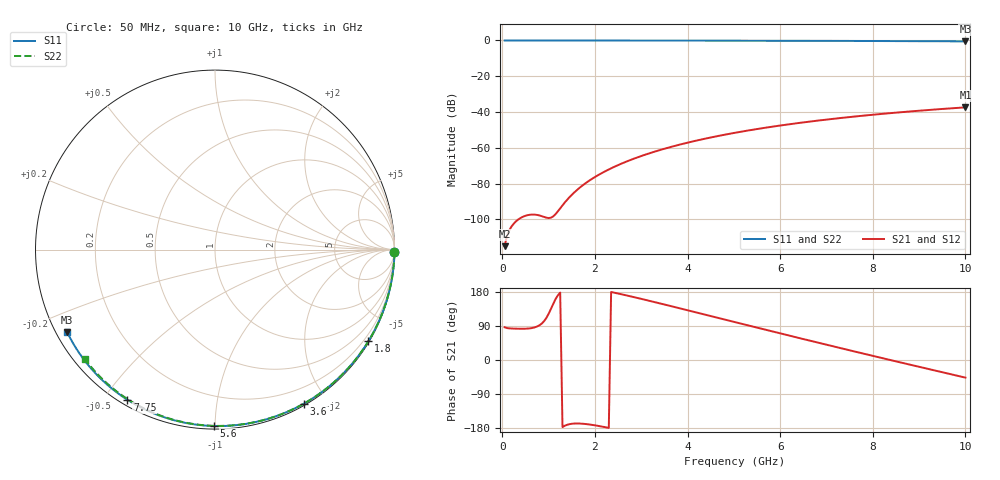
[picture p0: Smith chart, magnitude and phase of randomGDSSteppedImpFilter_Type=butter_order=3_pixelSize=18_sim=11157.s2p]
! freq	dB(S11)	phase(S11)	dB(S12)	phase(S12)
!  dB(S21)	phase(S21)	dB(S22)	phase(S22)
!S-par simulation data
#  GHz  S  DB  R 50
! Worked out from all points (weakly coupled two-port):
!   200 points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, 50 MHz to 10 GHz, reference 50 ohm
!   highest |S21| = -37.39 dB at 10 GHz (marker M1); lowest = -115.0 dB at 50 MHz (marker M2)
!   lowest |S11| = -0.5 dB at 10 GHz (marker M3), VSWR 34.32, Z = 1.56 - j13 ohm
!   |S11| at or under -10 dB: nowhere
!   |S22| runs from -0.5 to 0.0 dB; largest |S21 - S12| = 0
!   S11 on the Smith chart (normalised r, x): 50 MHz: open; 1.8 GHz: 0.03, -3.63; 3.6 GHz: 0.02, -1.73; 5.6 GHz: 0.02, -1.00; 7.75 GHz: 0.02, -0.57; 10 GHz: 0.03, -0.26
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0.05  -0.00 -0.9  -114.97 86.4  -114.97 86.4  -0.00 -0.8
0.45  -0.01 -7.8  -98.47 82.4  -98.47 82.4  -0.01 -7.3
0.9  -0.02 -15.6  -98.61 102.2  -98.61 102.2  -0.02 -14.5
1.3  -0.03 -22.4  -92.14 -177.0  -92.14 -177.0  -0.03 -20.9
1.75  -0.04 -30.0  -80.69 -168.3  -80.69 -168.3  -0.04 -28.0
1.8  -0.04 -30.8  -79.73 -168.9  -79.73 -168.9  -0.04 -28.8
1.95  -0.04 -33.3  -77.12 -171.4  -77.12 -171.4  -0.04 -31.1
2.1  -0.05 -35.8  -74.82 -174.5  -74.82 -174.5  -0.04 -33.4
2.3  -0.05 -39.1  -72.08 -179.2  -72.08 -179.2  -0.05 -36.5
2.5  -0.05 -42.4  -69.66 175.5  -69.66 175.5  -0.05 -39.6
2.9  -0.06 -48.9  -65.52 164.3  -65.52 164.3  -0.06 -45.7
3.4  -0.08 -56.9  -61.27 149.5  -61.27 149.5  -0.07 -53.2
3.6  -0.08 -60.1  -59.79 143.5  -59.79 143.5  -0.08 -56.2
4.3  -0.10 -70.9  -55.33 122.1  -55.33 122.1  -0.09 -66.3
5.05  -0.13 -82.2  -51.48 99.2  -51.48 99.2  -0.12 -76.9
5.6  -0.15 -90.3  -49.10 82.4  -49.10 82.4  -0.14 -84.4
6.15  -0.17 -98.1  -47.00 65.8  -47.00 65.8  -0.16 -91.8
6.7  -0.21 -105.9  -45.15 49.3  -45.15 49.3  -0.19 -99.0
7.75  -0.28 -120.3  -42.14 18.2  -42.14 18.2  -0.26 -112.4
8.35  -0.33 -128.4  -40.68 0.7  -40.68 0.7  -0.31 -119.9
9.2  -0.41 -139.9  -38.86 -23.7  -38.86 -23.7  -0.39 -130.3
10  -0.51 -150.8  -37.39 -46.5  -37.39 -46.5  -0.47 -140.1
